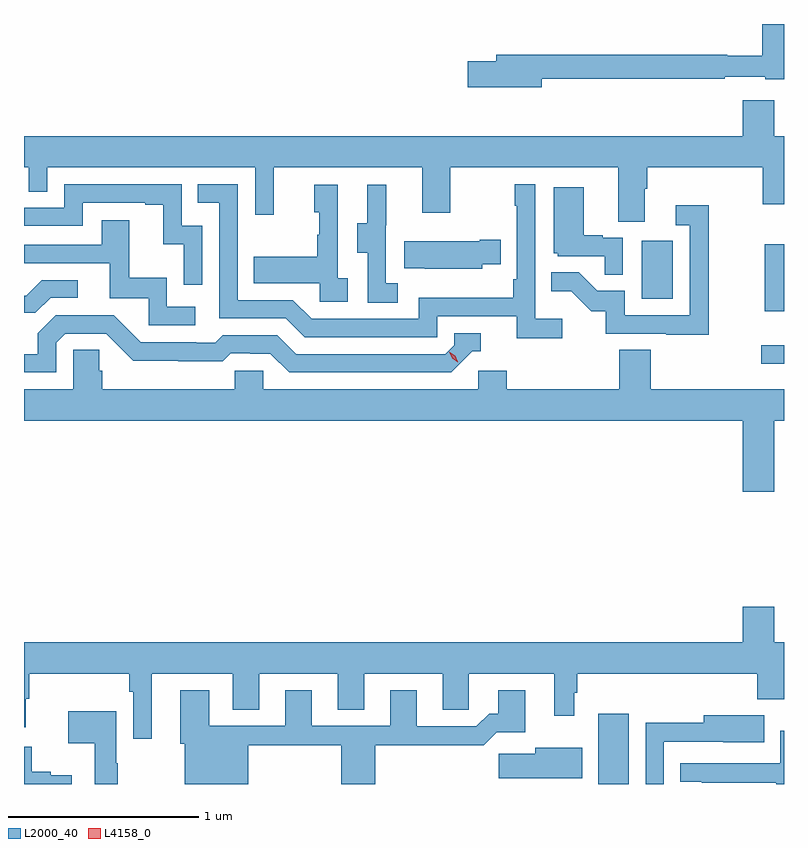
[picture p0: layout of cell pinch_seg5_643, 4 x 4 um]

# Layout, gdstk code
import gdstk
lib = gdstk.Library(unit=1e-6, precision=1e-09)
def R(c, l, rs):  # rectangles x0, y0, x1, y1
    for r in rs: c.add(gdstk.rectangle(r[:2], r[2:], *l))
def P(c, l, *ps):  # polygons
    for p in ps: c.add(gdstk.Polygon(p, *l))
L2000_40 = (2000, 40)
L4158_0 = (4158, 0)

pinch_seg5_643 = lib.new_cell('pinch_seg5_643')
R(pinch_seg5_643, L2000_40, [(1039.37,850.851,1039.531,851.221), (1040.228,853.064,1040.348,853.161), (1040.246,853.34,1040.348,853.693), (1039.598,853.404,1039.762,853.711)])
P(pinch_seg5_643, L2000_40, [(1039.072,854.562),(1040.036,854.562),(1040.036,854.574),(1040.25,854.574),(1040.25,854.561),(1040.348,854.561),(1040.348,854.851),(1040.234,854.851),(1040.234,854.683),(1040.05,854.683),(1040.05,854.69),(1038.833,854.69),(1038.833,854.654),(1038.684,854.654),(1038.684,854.519),(1039.072,854.519)],
  [(1039.615,853.984),(1039.628,853.984),(1039.628,854.096),(1040.237,854.096),(1040.237,853.902),(1040.348,853.902),(1040.348,854.26),(1040.296,854.26),(1040.296,854.449),(1040.132,854.449),(1040.132,854.26),(1036.348,854.26),(1036.348,854.096),(1036.374,854.096),(1036.374,853.969),(1036.47,853.969),(1036.47,854.096),(1037.565,854.096),(1037.565,853.848),(1037.663,853.848),(1037.663,854.096),(1038.443,854.096),(1038.443,853.857),(1038.591,853.857),(1038.591,854.096),(1039.475,854.096),(1039.475,853.81),(1039.615,853.81)],
  [(1039.18,853.3),(1039.038,853.3),(1039.038,854.008),(1038.93,854.008),(1038.93,853.895),(1038.942,853.895),(1038.942,853.507),(1038.922,853.507),(1038.922,853.411),(1038.426,853.411),(1038.426,853.299),(1037.862,853.299),(1037.763,853.398),(1037.472,853.398),(1037.472,854.007),(1037.263,854.007),(1037.263,853.911),(1037.376,853.911),(1037.376,853.302),(1037.726,853.302),(1037.825,853.203),(1038.522,853.203),(1038.522,853.314),(1038.941,853.314),(1038.941,853.198),(1039.18,853.198)],
  [(1037.286,853.788),(1037.178,853.788),(1037.178,854.007),(1036.56,854.007),(1036.56,853.884),(1036.348,853.884),(1036.348,853.788),(1036.656,853.788),(1036.656,853.911),(1036.985,853.911),(1036.985,853.899),(1037.081,853.899),(1037.081,853.691),(1037.19,853.691),(1037.19,853.479),(1037.286,853.479)],
  [(1038.052,853.514),(1038,853.514),(1038,854.005),(1037.876,854.005),(1037.876,853.86),(1037.902,853.86),(1037.902,853.742),(1037.892,853.742),(1037.892,853.627),(1037.557,853.627),(1037.557,853.487),(1037.904,853.487),(1037.904,853.389),(1038.052,853.389)],
  [(1038.316,853.487),(1038.252,853.487),(1038.252,853.791),(1038.254,853.791),(1038.254,854.005),(1038.155,854.005),(1038.155,853.803),(1038.101,853.803),(1038.101,853.648),(1038.156,853.648),(1038.156,853.384),(1038.316,853.384)],
  [(1039.5,853.725),(1039.394,853.725),(1039.394,853.738),(1039.294,853.738),(1039.294,853.993),(1039.136,853.993),(1039.136,853.644),(1039.158,853.644),(1039.158,853.629),(1039.405,853.629),(1039.405,853.531),(1039.5,853.531)],
  [(1039.952,853.897),(1039.779,853.897),(1039.779,853.791),(1039.851,853.791),(1039.851,853.317),(1039.509,853.317),(1039.509,853.446),(1039.365,853.446),(1039.267,853.544),(1039.123,853.544),(1039.123,853.445),(1039.227,853.445),(1039.334,853.338),(1039.411,853.338),(1039.411,853.221),(1039.729,853.221),(1039.729,853.216),(1039.952,853.216)],
  [(1037.248,853.362),(1037.1,853.362),(1037.1,853.516),(1036.901,853.516),(1036.901,853.819),(1036.757,853.819),(1036.757,853.689),(1036.348,853.689),(1036.348,853.593),(1036.799,853.593),(1036.799,853.407),(1037.004,853.407),(1037.004,853.266),(1037.248,853.266)],
  [(1038.759,853.586),(1038.857,853.586),(1038.857,853.716),(1038.746,853.716),(1038.746,853.708),(1038.349,853.708),(1038.349,853.565),(1038.457,853.565),(1038.457,853.562),(1038.759,853.562)],
  [(1036.488,853.41),(1036.63,853.41),(1036.63,853.503),(1036.442,853.503),(1036.361,853.422),(1036.348,853.422),(1036.348,853.33),(1036.408,853.33)],
  [(1036.518,853.173),(1036.566,853.221),(1036.782,853.221),(1036.924,853.079),(1037.16,853.079),(1037.16,853.077),(1037.393,853.077),(1037.435,853.119),(1037.538,853.119),(1037.538,853.116),(1037.645,853.116),(1037.744,853.017),(1038.597,853.017),(1038.708,853.128),(1038.751,853.128),(1038.751,853.224),(1038.612,853.224),(1038.612,853.161),(1038.564,853.113),(1037.781,853.113),(1037.682,853.212),(1037.393,853.212),(1037.354,853.173),(1037.255,853.173),(1037.255,853.176),(1036.962,853.176),(1036.821,853.317),(1036.515,853.317),(1036.421,853.223),(1036.421,853.113),(1036.348,853.113),(1036.348,853.017),(1036.518,853.017)],
  [(1040.296,852.764),(1040.348,852.764),(1040.348,852.928),(1039.646,852.928),(1039.646,853.136),(1039.481,853.136),(1039.481,852.928),(1038.89,852.928),(1038.89,853.026),(1038.738,853.026),(1038.738,852.928),(1037.607,852.928),(1037.607,853.026),(1037.457,853.026),(1037.457,852.928),(1036.76,852.928),(1036.76,853.026),(1036.745,853.026),(1036.745,853.136),(1036.608,853.136),(1036.608,852.928),(1036.348,852.928),(1036.348,852.764),(1040.132,852.764),(1040.132,852.39),(1040.296,852.39)],
  [(1037.02,851.432),(1037.447,851.432),(1037.447,851.242),(1037.587,851.242),(1037.587,851.432),(1037.999,851.432),(1037.999,851.242),(1038.139,851.242),(1038.139,851.432),(1038.551,851.432),(1038.551,851.242),(1038.69,851.242),(1038.69,851.432),(1039.139,851.432),(1039.139,851.211),(1039.243,851.211),(1039.243,851.33),(1039.261,851.33),(1039.261,851.432),(1040.207,851.432),(1040.207,851.297),(1040.348,851.297),(1040.348,851.596),(1040.296,851.596),(1040.296,851.785),(1040.132,851.785),(1040.132,851.596),(1036.348,851.596),(1036.348,851.151),(1036.357,851.151),(1036.357,851.3),(1036.375,851.3),(1036.375,851.432),(1036.903,851.432),(1036.903,851.336),(1036.923,851.336),(1036.923,851.088),(1037.02,851.088)],
  [(1037.527,851.056),(1038.019,851.056),(1038.019,850.851),(1038.197,850.851),(1038.197,851.056),(1038.511,851.056),(1038.511,851.054),(1038.767,851.054),(1038.836,851.123),(1038.985,851.123),(1038.985,851.344),(1038.845,851.344),(1038.845,851.221),(1038.796,851.221),(1038.729,851.154),(1038.415,851.154),(1038.415,851.344),(1038.275,851.344),(1038.275,851.157),(1037.863,851.157),(1037.863,851.344),(1037.723,851.344),(1037.723,851.157),(1037.323,851.157),(1037.323,851.344),(1037.171,851.344),(1037.171,851.064),(1037.195,851.064),(1037.195,850.851),(1037.527,850.851)],
  [(1036.842,850.96),(1036.834,850.96),(1036.834,851.233),(1036.581,851.233),(1036.581,851.066),(1036.721,851.066),(1036.721,850.851),(1036.842,850.851)],
  [(1039.716,851.073),(1040.029,851.073),(1040.029,851.072),(1040.243,851.072),(1040.243,851.212),(1039.925,851.212),(1039.925,851.174),(1039.62,851.174),(1039.62,850.851),(1039.716,850.851)],
  [(1040.348,851.131),(1040.328,851.131),(1040.328,850.959),(1039.803,850.959),(1039.803,850.863),(1039.915,850.863),(1039.915,850.858),(1040.308,850.858),(1040.308,850.851),(1040.348,850.851)],
  [(1036.6,850.897),(1036.488,850.897),(1036.488,850.916),(1036.39,850.916),(1036.39,851.047),(1036.348,851.047),(1036.348,850.851),(1036.6,850.851)],
  [(1039.285,851.041),(1039.04,851.041),(1039.04,851.009),(1038.846,851.009),(1038.846,850.88),(1039.285,850.88)])
P(pinch_seg5_643, L4158_0, [(1038.632,853.072),(1038.602,853.092),(1038.586,853.125),(1038.586,853.125),(1038.586,853.125),(1038.617,853.105),(1038.632,853.073),(1038.632,853.072)])

lib.write_gds('pinch_seg5_643.gds')
